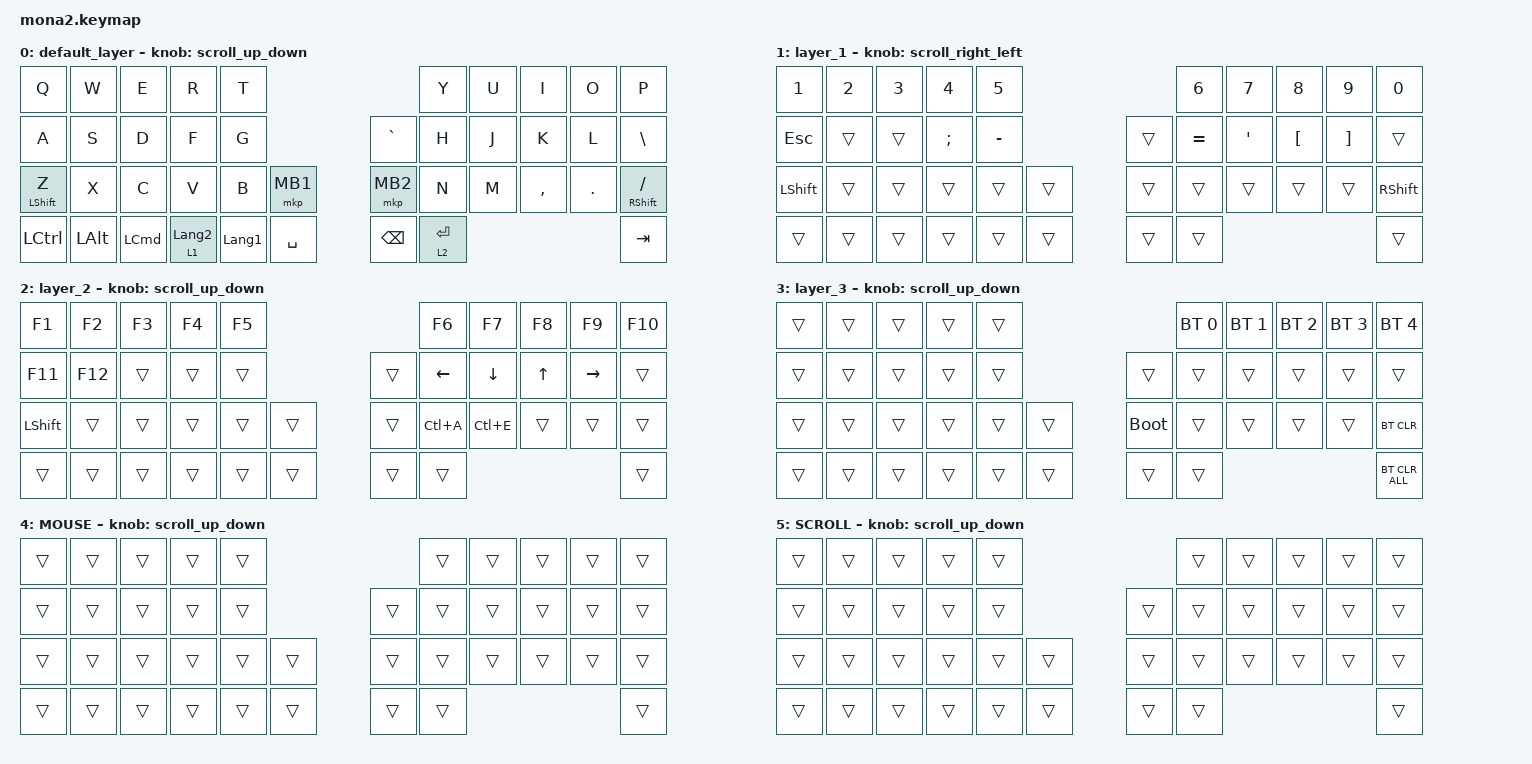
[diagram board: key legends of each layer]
#include <input/processors.dtsi>
#include <dt-bindings/zmk/input_transform.h>
#include <zephyr/dt-bindings/input/input-event-codes.h>
#include <behaviors.dtsi>
#include <dt-bindings/zmk/bt.h>
#include <dt-bindings/zmk/keys.h>
#include <dt-bindings/zmk/pointing.h>

#define ZMK_POINTING_DEFAULT_SCRL_VAL 100
#define MOUSE 4
#define SCROLL 5

&mt {
    flavor = "balanced";
    quick-tap-ms = <0>;
};

&lt {
    quick-tap-ms = <300>;
    flavor = "balanced";
};

/ {
    combos {
        compatible = "zmk,combos";

        layer4_ESC {
            bindings = <&lt 3 ESC>;
            key-positions = <39 38>;
        };
    };

    macros {
        to_layer_0: to_layer_0 {
            compatible = "zmk,behavior-macro-one-param";
            #binding-cells = <1>;
            bindings = <&to 0 &macro_param_1to1 &kp MACRO_PLACEHOLDER>;
            label = "TO_LAYER_0";
        };
    };

    behaviors {
        lt_to_layer_0: lt_to_layer_0 {
            compatible = "zmk,behavior-hold-tap";
            label = "LAYER_TAP_TO_0";
            bindings = <&mo>, <&to_layer_0>;

            #binding-cells = <2>;
            tapping-term-ms = <200>;
        };

        scroll_up_down: mouse_wheel_up_down {
            compatible = "zmk,behavior-sensor-rotate";
            #sensor-binding-cells = <0>;
            bindings = <&msc SCRL_DOWN>, <&msc SCRL_UP>;

            tap-ms = <20>;
        };

        scroll_right_left: mouse_wheel_right_left {
            compatible = "zmk,behavior-sensor-rotate";
            #sensor-binding-cells = <0>;
            bindings = <&msc SCRL_LEFT>, <&msc SCRL_RIGHT>;

            tap-ms = <20>;
        };
    };

    keymap {
        compatible = "zmk,keymap";

        default_layer {
            bindings = <
&kp Q             &kp W         &kp E             &kp R                        &kp T                                       &kp Y                   &kp U  &kp I      &kp O    &kp P
&kp A             &kp S         &kp D             &kp F                        &kp G                        &kp GRAVE      &kp H                   &kp J  &kp K      &kp L    &kp BACKSLASH
&mt LEFT_SHIFT Z  &kp X         &kp C             &kp V                        &kp B           &mkp MB1     &mkp MB2       &kp N                   &kp M  &kp COMMA  &kp DOT  &mt RIGHT_SHIFT SLASH
&kp LEFT_CONTROL  &kp LEFT_ALT  &kp LEFT_COMMAND  &lt_to_layer_0 1 LANGUAGE_2  &kp LANGUAGE_1  &kp SPACE    &kp BACKSPACE  &lt_to_layer_0 2 ENTER                             &kp TAB
            >;

            sensor-bindings = <&scroll_up_down>;
        };

        layer_1 {
            bindings = <
&kp NUMBER_1    &kp NUMBER_2  &kp NUMBER_3  &kp NUMBER_4   &kp NUMBER_5                    &kp NUMBER_6  &kp NUMBER_7  &kp NUMBER_8      &kp NUMBER_9       &kp NUMBER_0
&kp ESC         &trans        &trans        &kp SEMICOLON  &kp MINUS               &trans  &kp EQUAL     &kp SQT       &kp LEFT_BRACKET  &kp RIGHT_BRACKET  &trans
&kp LEFT_SHIFT  &trans        &trans        &trans         &trans        &trans    &trans  &trans        &trans        &trans            &trans             &kp RIGHT_SHIFT
&trans          &trans        &trans        &trans         &trans        &trans    &trans  &trans                                                           &trans
            >;

            sensor-bindings = <&scroll_right_left>;
        };

        layer_2 {
            bindings = <
&kp F1          &kp F2   &kp F3  &kp F4  &kp F5                    &kp F6          &kp F7          &kp F8        &kp F9     &kp F10
&kp F11         &kp F12  &trans  &trans  &trans            &trans  &kp LEFT_ARROW  &kp DOWN_ARROW  &kp UP_ARROW  &kp RIGHT  &trans
&kp LEFT_SHIFT  &trans   &trans  &trans  &trans  &trans    &trans  &kp LC(A)       &kp LC(E)       &trans        &trans     &trans
&trans          &trans   &trans  &trans  &trans  &trans    &trans  &trans                                                   &trans
            >;

            sensor-bindings = <&scroll_up_down>;
        };

        layer_3 {
            bindings = <
&trans  &trans  &trans  &trans  &trans                         &bt BT_SEL 0  &bt BT_SEL 1  &bt BT_SEL 2  &bt BT_SEL 3  &bt BT_SEL 4
&trans  &trans  &trans  &trans  &trans            &trans       &trans        &trans        &trans        &trans        &trans
&trans  &trans  &trans  &trans  &trans  &trans    &bootloader  &trans        &trans        &trans        &trans        &bt BT_CLR
&trans  &trans  &trans  &trans  &trans  &trans    &trans       &trans                                                  &bt BT_CLR_ALL
            >;

            sensor-bindings = <&scroll_up_down>;
        };

        MOUSE {
            bindings = <
&trans  &trans  &trans  &trans  &trans                    &trans  &trans  &trans  &trans  &trans
&trans  &trans  &trans  &trans  &trans            &trans  &trans  &trans  &trans  &trans  &trans
&trans  &trans  &trans  &trans  &trans  &trans    &trans  &trans  &trans  &trans  &trans  &trans
&trans  &trans  &trans  &trans  &trans  &trans    &trans  &trans                          &trans
            >;

            sensor-bindings = <&scroll_up_down>;
        };

        SCROLL {
            bindings = <
&trans  &trans  &trans  &trans  &trans                    &trans  &trans  &trans  &trans  &trans
&trans  &trans  &trans  &trans  &trans            &trans  &trans  &trans  &trans  &trans  &trans
&trans  &trans  &trans  &trans  &trans  &trans    &trans  &trans  &trans  &trans  &trans  &trans
&trans  &trans  &trans  &trans  &trans  &trans    &trans  &trans                          &trans
            >;

            sensor-bindings = <&scroll_up_down>;
        };
    };
};
